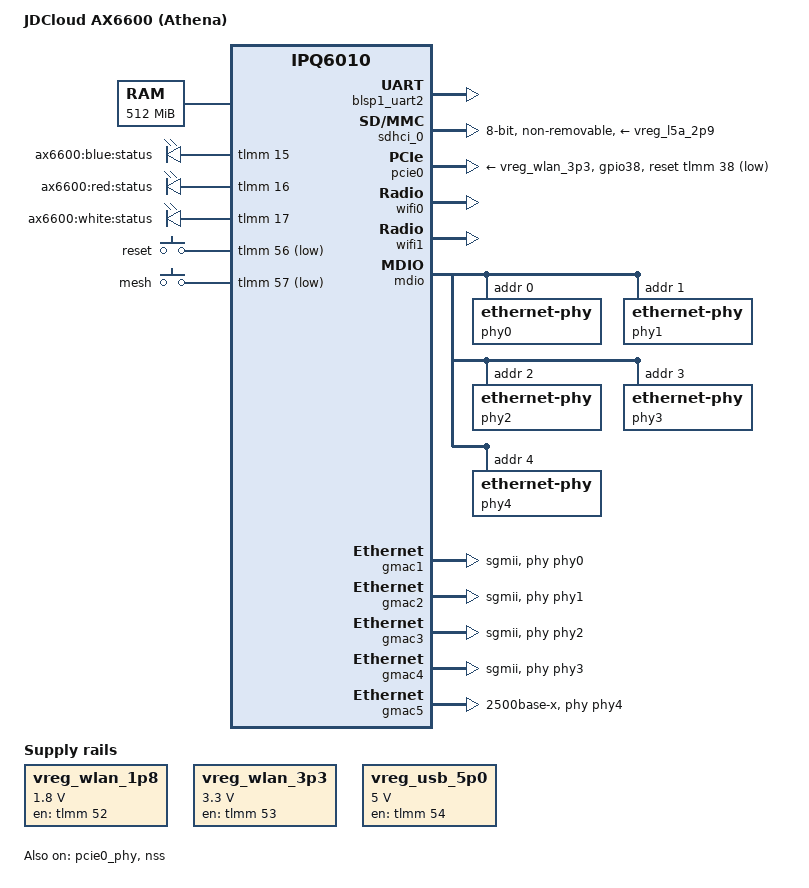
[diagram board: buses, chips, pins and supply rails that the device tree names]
// SPDX-License-Identifier: GPL-2.0-only
/*
 * Device Tree Source for JDCloud AX6600 (Athena)
 * Based on IPQ6018 reference design
 * 
 * SoC: Qualcomm IPQ6010 (compatible with IPQ6018)
 * WiFi: QCN5022 (2.4G) + QCN5052 (5G) + QCN9074 (5G PCIe)
 * Ethernet: 1x2.5G + 4x1G with NSS
 * Storage: 64GB eMMC
 * Memory: 512MB DDR3 (stock) / 2GB DDR4 (modded)
 */

/dts-v1/;

#include "ipq6018.dtsi"

/ {
	model = "JDCloud AX6600 (Athena)";
	compatible = "jdcloud,ax6600", "qcom,ipq6018", "qcom,ipq6010";

	aliases {
		serial0 = &blsp1_uart2;
		ethernet0 = &gmac1;
		ethernet1 = &gmac2;
		ethernet2 = &gmac3;
		ethernet3 = &gmac4;
		ethernet4 = &gmac5;
		mmc0 = &sdhci_0;
	};

	chosen {
		bootargs = "console=ttyMSM0,115200n8 root=/dev/mmcblk0p18 rw rootwait";
		stdout-path = "serial0:115200n8";
	};

	memory@40000000 {
		device_type = "memory";
		reg = <0x0 0x40000000 0x0 0x20000000>; /* 512MB stock */
	};

	/* WiFi regulators */
	vreg_wlan_1p8: vreg_wlan_1p8 {
		compatible = "regulator-fixed";
		regulator-name = "vreg_wlan_1p8";
		regulator-min-microvolt = <1800000>;
		regulator-max-microvolt = <1800000>;
		gpio = <&tlmm 52 GPIO_ACTIVE_HIGH>;
		enable-active-high;
	};

	vreg_wlan_3p3: vreg_wlan_3p3 {
		compatible = "regulator-fixed";
		regulator-name = "vreg_wlan_3p3";
		regulator-min-microvolt = <3300000>;
		regulator-max-microvolt = <3300000>;
		gpio = <&tlmm 53 GPIO_ACTIVE_HIGH>;
		enable-active-high;
	};

	/* USB 3.0 VBUS */
	vreg_usb_5p0: vreg_usb_5p0 {
		compatible = "regulator-fixed";
		regulator-name = "vreg_usb_5p0";
		regulator-min-microvolt = <5000000>;
		regulator-max-microvolt = <5000000>;
		gpio = <&tlmm 54 GPIO_ACTIVE_HIGH>;
		enable-active-high;
	};
};

&blsp1_uart2 {
	status = "okay";
};

&sdhci_0 {
	status = "okay";
	bus-width = <8>;
	non-removable;
	max-frequency = <192000000>;
	
	/* eMMC HS200 mode */
	mmc-hs200-1_8v;
	vmmc-supply = <&vreg_l5a_2p9>;
	vqmmc-supply = <&vreg_l6a_1p8>;
};

/* PCIe for external WiFi module (QCN9074 or similar) */
&pcie0 {
	status = "okay";
	reset-gpio = <&tlmm 38 GPIO_ACTIVE_LOW>;
	pinctrl-0 = <&pcie0_pins>;
	pinctrl-names = "default";
	
	perst-gpio = <&tlmm 38 GPIO_ACTIVE_LOW>;
	vpcie3v3-supply = <&vreg_wlan_3p3>;
};

&pcie0_phy {
	status = "okay";
};

/* Internal WiFi (QCN5022/QCN5052) - AHB connected */
&wifi0 {
	status = "okay";
	qcom,ath11k-calibration-variant = "JDCloud-AX6600-2.4G";
};

&wifi1 {
	status = "okay";
	qcom,ath11k-calibration-variant = "JDCloud-AX6600-5G";
};

/* Ethernet PHY configuration */
&mdio {
	status = "okay";

	phy0: ethernet-phy@0 {
		reg = <0>;
		qca,phy-mode = "sgmii";
	};

	phy1: ethernet-phy@1 {
		reg = <1>;
		qca,phy-mode = "sgmii";
	};

	phy2: ethernet-phy@2 {
		reg = <2>;
		qca,phy-mode = "sgmii";
	};

	phy3: ethernet-phy@3 {
		reg = <3>;
		qca,phy-mode = "sgmii";
	};

	phy4: ethernet-phy@4 {
		reg = <4>;
		qca,phy-mode = "2500base-x"; /* 2.5G port */
	};
};

&gmac1 {
	status = "okay";
	phy-mode = "sgmii";
	phy-handle = <&phy0>;
	qcom,id = <1>;
	label = "lan1";
};

&gmac2 {
	status = "okay";
	phy-mode = "sgmii";
	phy-handle = <&phy1>;
	qcom,id = <2>;
	label = "lan2";
};

&gmac3 {
	status = "okay";
	phy-mode = "sgmii";
	phy-handle = <&phy2>;
	qcom,id = <3>;
	label = "lan3";
};

&gmac4 {
	status = "okay";
	phy-mode = "sgmii";
	phy-handle = <&phy3>;
	qcom,id = <4>;
	label = "lan4";
};

&gmac5 {
	status = "okay";
	phy-mode = "2500base-x";
	phy-handle = <&phy4>;
	qcom,id = <5>;
	label = "wan"; /* 2.5G port */
};

/* GPIO pin control */
&tlmm {
	pcie0_pins: pcie0-pins {
		mux {
			pins = "gpio38";
			function = "pcie0";
		};
	};
};

/* LED indicators */
&leds {
	status = "okay";

	led_blue: led-blue {
		label = "ax6600:blue:status";
		gpios = <&tlmm 15 GPIO_ACTIVE_HIGH>;
		default-state = "on";
	};

	led_red: led-red {
		label = "ax6600:red:status";
		gpios = <&tlmm 16 GPIO_ACTIVE_HIGH>;
	};

	led_white: led-white {
		label = "ax6600:white:status";
		gpios = <&tlmm 17 GPIO_ACTIVE_HIGH>;
	};
};

/* Buttons */
&gpio_keys {
	status = "okay";

	reset_button: reset {
		label = "reset";
		gpios = <&tlmm 56 GPIO_ACTIVE_LOW>;
		linux,code = <KEY_RESTART>;
		debounce-interval = <60>;
		wakeup-source;
	};

	mesh_button: mesh {
		label = "mesh";
		gpios = <&tlmm 57 GPIO_ACTIVE_LOW>;
		linux,code = <KEY_WPS_BUTTON>;
		debounce-interval = <60>;
	};
};

/* NSS (Network Security Subsystem) - hardware acceleration */
&nss {
	status = "okay";
	/* Requires proprietary firmware */
};
